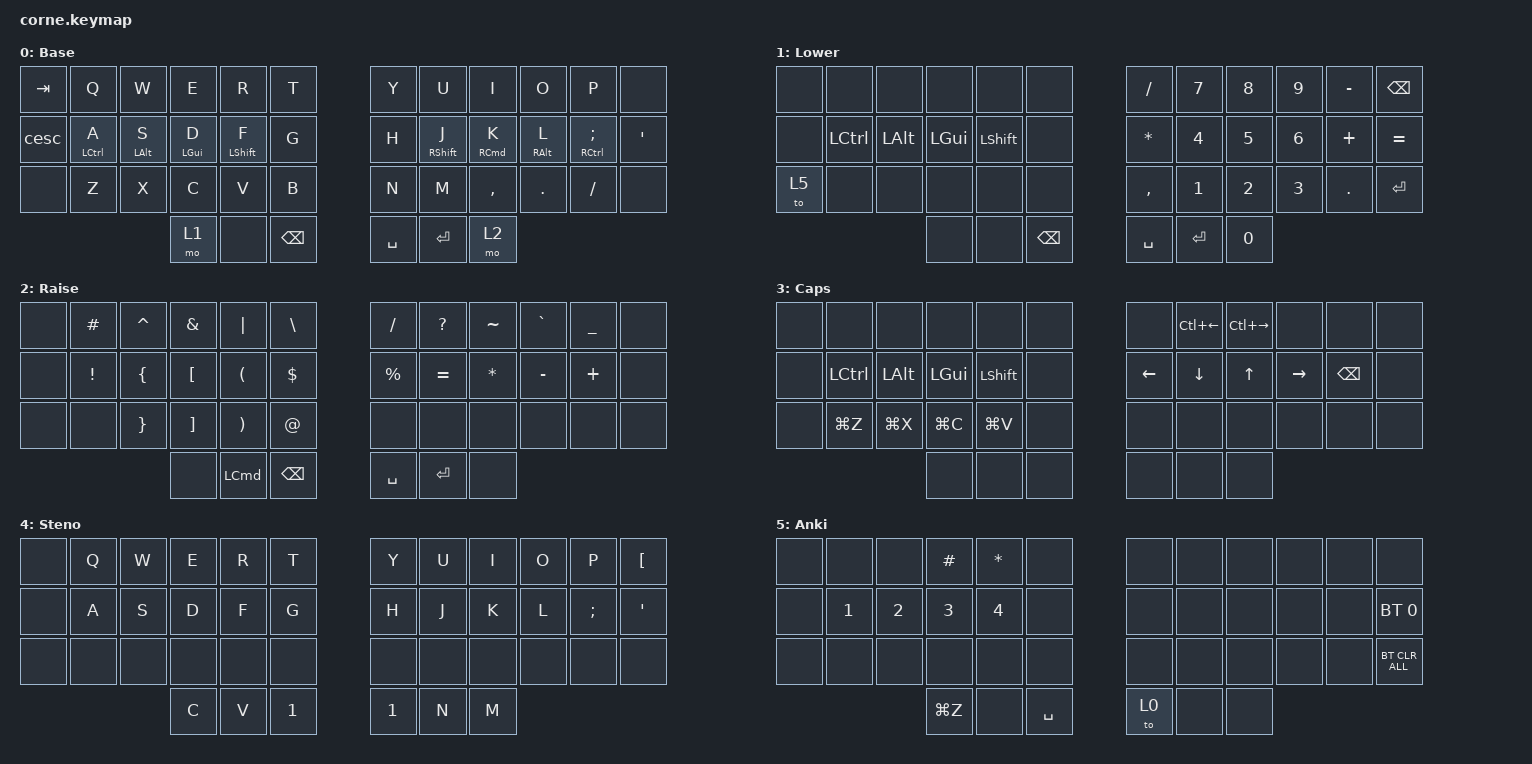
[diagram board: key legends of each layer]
/*
 * Copyright (c) 2020 The ZMK Contributors
 *
 * SPDX-License-Identifier: MIT
 */

#include <behaviors.dtsi>
#include <dt-bindings/zmk/bt.h>
#include <dt-bindings/zmk/keys.h>

/ {
    behaviors {
        hml: homerow_mods_left {
            compatible = "zmk,behavior-hold-tap";
            label = "Homerow Mod Left";
            bindings = <&kp>, <&kp>;

            #binding-cells = <2>;
            hold-trigger-key-positions = <6 7 8 9 10 11 18 19 20 21 22 23 30 31 32 33 34 35 39 40 41 38 37 36>;
            tapping-term-ms = <280>;
            flavor = "balanced";
            quick-tap-ms = <170>;
            require-prior-idle-ms = <150>;
            hold-trigger-on-release;
        };

        hmsl: homerow_mods_shift_left {
            compatible = "zmk,behavior-hold-tap";
            label = "Homerow Mod Shift Left";
            bindings = <&kp>, <&kp>;

            #binding-cells = <2>;
            hold-trigger-key-positions = <6 7 8 9 10 11 18 19 20 21 22 23 30 31 32 33 34 35 39 40 41 38 37 36>;
            tapping-term-ms = <150>;
            flavor = "balanced";
            hold-trigger-on-release;
        };

        hmr: homerow_mods_right {
            compatible = "zmk,behavior-hold-tap";
            label = "Homerow Mod Right";
            bindings = <&kp>, <&kp>;

            #binding-cells = <2>;
            tapping-term-ms = <280>;
            hold-trigger-key-positions = <0 1 2 3 4 5 12 13 14 15 16 17 24 25 26 27 28 29 36 37 38 39 40 41>;
            flavor = "balanced";
            quick-tap-ms = <170>;
            require-prior-idle-ms = <150>;
            hold-trigger-on-release;
        };

        hmsr: homerow_mods_shift_right {
            compatible = "zmk,behavior-hold-tap";
            label = "Homerow Mod Shift Right";
            bindings = <&kp>, <&kp>;

            #binding-cells = <2>;
            hold-trigger-key-positions = <0 1 2 3 4 5 12 13 14 15 16 17 24 25 26 27 28 29 36 37 38 39 40 41>;
            tapping-term-ms = <150>;
            flavor = "balanced";
            hold-trigger-on-release;
        };

        cesc: caps_key {
            compatible = "zmk,behavior-mod-morph";
            label = "Caps Key";
            bindings = <&lt 3 ESCAPE>, <&caps_word>;

            #binding-cells = <0>;
            mods = <(MOD_LSFT)>;
        };
    };

    combos {
        compatible = "zmk,combos";

        TogSteno {
            bindings = <&tog 4>;
            key-positions = <37 38 39 40>;
            layers = <0 4>;
        };
    };

    keymap {
        compatible = "zmk,keymap";

        default_layer {
            display-name = "Base";
            bindings = <
&kp TAB  &kp Q         &kp W        &kp E        &kp R           &kp T            &kp Y      &kp U           &kp I        &kp O        &kp P            &none
&cesc    &hml LCTRL A  &hml LALT S  &hml LGUI D  &hmsl LSHIFT F  &kp G            &kp H      &hmsr RSHIFT J  &hmr RCMD K  &hmr RALT L  &hmr RCTRL SEMI  &kp SQT
&none    &kp Z         &kp X        &kp C        &kp V           &kp B            &kp N      &kp M           &kp COMMA    &kp DOT      &kp FSLH         &none
                                    &mo 1        &none           &kp BACKSPACE    &kp SPACE  &kp RET         &mo 2
            >;
        };

        lower_layer {
            display-name = "Lower";
            bindings = <
&none  &none      &none     &none     &none      &none       &kp SLASH  &kp N7   &kp N8  &kp N9  &kp MINUS   &kp BSPC
&none  &kp LCTRL  &kp LALT  &kp LGUI  &kp LSHFT  &none       &kp STAR   &kp N4   &kp N5  &kp N6  &kp PLUS    &kp EQUAL
&to 5  &none      &none     &none     &none      &none       &kp COMMA  &kp N1   &kp N2  &kp N3  &kp PERIOD  &kp RET
                            &none     &none      &kp BSPC    &kp SPACE  &kp RET  &kp N0
            >;

            label = "Lower";
        };

        raise_layer {
            label = "Raise";
            display-name = "Raise";
            bindings = <
&none  &kp POUND  &kp CARET  &kp AMPS  &kp PIPE  &kp BACKSLASH    &kp SLASH  &kp QMARK  &kp TILDE  &kp GRAVE  &kp UNDER  &none
&none  &kp EXCL   &kp LBRC   &kp LBKT  &kp LPAR  &kp DLLR         &kp PRCNT  &kp EQUAL  &kp STAR   &kp MINUS  &kp PLUS   &none
&none  &none      &kp RBRC   &kp RBKT  &kp RPAR  &kp AT_SIGN      &none      &none      &none      &none      &none      &none
                             &none     &kp LCMD  &kp BSPC         &kp SPACE  &kp RET    &none
            >;
        };

        caps_layer {
            bindings = <
&none  &none      &none         &none      &none      &none    &none     &kp LC(LEFT)  &kp LC(RIGHT)  &none      &none          &none
&none  &kp LCTRL  &kp LEFT_ALT  &kp LGUI   &kp LSHFT  &none    &kp LEFT  &kp DOWN      &kp UP         &kp RIGHT  &kp BACKSPACE  &none
&none  &kp LG(Z)  &kp LG(X)     &kp LG(C)  &kp LG(V)  &none    &none     &none         &none          &none      &none          &none
                                &none      &none      &none    &none     &none         &none
            >;

            label = "Caps";
        };

        steno_layer {
            bindings = <
&none  &kp Q  &kp W  &kp E  &kp R  &kp T     &kp Y   &kp U  &kp I  &kp O  &kp P     &kp LBKT
&none  &kp A  &kp S  &kp D  &kp F  &kp G     &kp H   &kp J  &kp K  &kp L  &kp SEMI  &kp SQT
&none  &none  &none  &none  &none  &none     &none   &none  &none  &none  &none     &none
                     &kp C  &kp V  &kp N1    &kp N1  &kp N  &kp M
            >;

            label = "Steno";
        };

        anki_layer {
            bindings = <
&none  &none   &none   &kp POUND  &kp STAR  &none        &none  &none  &none  &none  &none  &none
&none  &kp N1  &kp N2  &kp N3     &kp N4    &none        &none  &none  &none  &none  &none  &bt BT_SEL 0
&none  &none   &none   &none      &none     &none        &none  &none  &none  &none  &none  &bt BT_CLR_ALL
                       &kp LG(Z)  &none     &kp SPACE    &to 0  &none  &none
            >;

            label = "Anki";
        };
    };
};
